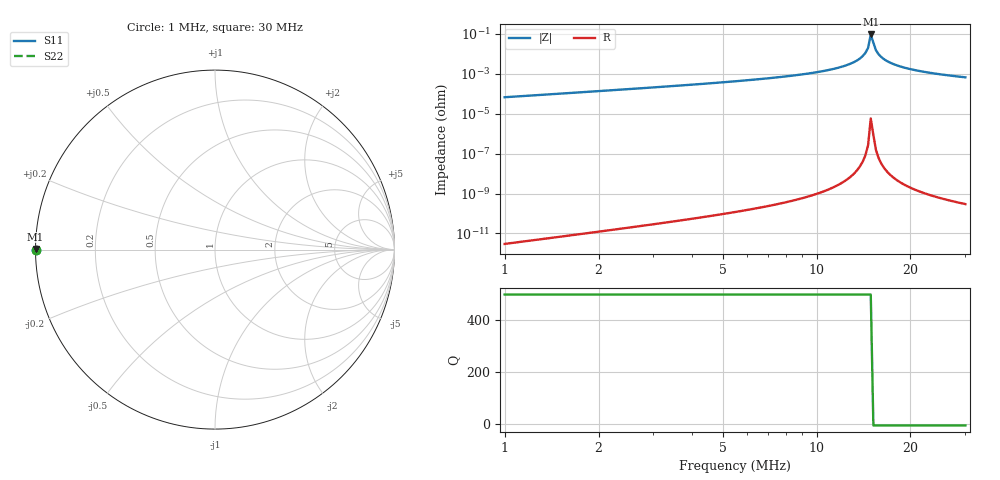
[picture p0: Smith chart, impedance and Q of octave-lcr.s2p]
#  Hz  S  RI  R  50
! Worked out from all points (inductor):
!   101 points, 1 MHz to 30 MHz, reference 50 ohm
!   read as one part in shunt: L = 10.6 pH near 1 MHz
!   highest |Z| = 93.5 mohm at 14.92 MHz (marker M1)
!   self-resonance near 15.13 MHz
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1000000  -1 2.68e-06  7.29e-12 2.68e-06  7.29e-12 2.68e-06  -1 2.68e-06
5930000  -1 1.87e-05  3.57e-10 1.87e-05  3.57e-10 1.87e-05  -1 1.87e-05
1.086e7  -1 6.09e-05  3.77e-09 6.09e-05  3.77e-09 6.09e-05  -1 6.09e-05
1.231e7  -1 0.000101  1.03e-08 0.000101  1.03e-08 0.000101  -1 0.000101
1.318e7  -1 0.000154  2.42e-08 0.000154  2.42e-08 0.000154  -1 0.000154
1.376e7  -1 0.000232  5.45e-08 0.000232  5.45e-08 0.000232  -1 0.000232
1.405e7  -1 0.000305  9.49e-08 0.000305  9.49e-08 0.000305  -1 0.000305
1.434e7  -1 0.000444  2.01e-07 0.000444  2.01e-07 0.000444  -1 0.000444
1.463e7  -1 0.000801  6.52e-07 0.000801  6.52e-07 0.000801  -1 0.000801
1.492e7  -1 0.00374  1.42e-05 0.00374  1.42e-05 0.00374  -1 0.00374
1.521e7  -1 -0.00144  2.1e-06 -0.00144  2.1e-06 -0.00144  -1 -0.00144
1.55e7  -1 -0.00061  3.78e-07 -0.00061  3.78e-07 -0.00061  -1 -0.00061
1.579e7  -1 -0.000389  1.54e-07 -0.000389  1.54e-07 -0.000389  -1 -0.000389
1.608e7  -1 -0.000287  8.4e-08 -0.000287  8.4e-08 -0.000287  -1 -0.000287
1.637e7  -1 -0.000229  5.31e-08 -0.000229  5.31e-08 -0.000229  -1 -0.000229
1.695e7  -1 -0.000163  2.71e-08 -0.000163  2.71e-08 -0.000163  -1 -0.000163
1.753e7  -1 -0.000128  1.66e-08 -0.000128  1.66e-08 -0.000128  -1 -0.000128
1.811e7  -1 -0.000106  1.13e-08 -0.000106  1.13e-08 -0.000106  -1 -0.000106
1.84e7  -1 -9.72e-05  9.61e-09 -9.72e-05  9.61e-09 -9.72e-05  -1 -9.72e-05
2.043e7  -1 -6.37e-05  4.13e-09 -6.37e-05  4.13e-09 -6.37e-05  -1 -6.37e-05
2.536e7  -1 -3.64e-05  1.35e-09 -3.64e-05  1.35e-09 -3.64e-05  -1 -3.64e-05
3e7  -1 -2.67e-05  7.23e-10 -2.67e-05  7.23e-10 -2.67e-05  -1 -2.67e-05
